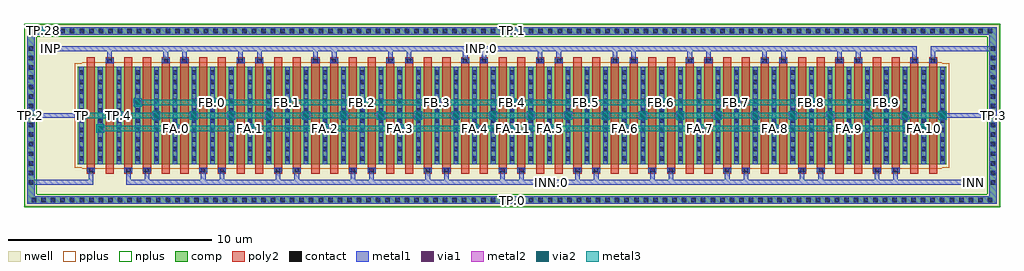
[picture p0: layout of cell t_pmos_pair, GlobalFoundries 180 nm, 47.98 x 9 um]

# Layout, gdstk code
import gdstk
lib = gdstk.Library(unit=1e-6, precision=1e-09)
def R(c, l, rs):  # rectangles x0, y0, x1, y1
    for r in rs: c.add(gdstk.rectangle(r[:2], r[2:], *l))
def A(c, l, x, y, w, h, nx, ny, dx, dy):  # array of equal rectangles
    R(c, l, [(x+i*dx, y+j*dy, x+i*dx+w, y+j*dy+h) for i in range(nx) for j in range(ny)])
nwell = (21, 0)
comp = (22, 0)
poly2 = (30, 0)
pplus = (31, 0)
nplus = (32, 0)
contact = (33, 0)
metal1 = (34, 0)
via1 = (35, 0)
metal2 = (36, 0)
via2 = (38, 0)
metal3 = (42, 0)

t_pmos_pair = lib.new_cell('t_pmos_pair')
R(t_pmos_pair, nwell, [(0,0,47.9,8.92)])
R(t_pmos_pair, comp, [(0.12,0.12,47.78,0.48), (0.12,0.48,0.48,8.44), (47.42,0.48,47.78,8.44), (2.61,2.06,45.29,6.86), (0.12,8.44,47.78,8.8)])
A(t_pmos_pair, poly2, 3.05, 1.6, 0.4, 5.72, 46, 1, 0.92, 0)
R(t_pmos_pair, pplus, [(2.82,1.83,45.08,1.9), (2.45,1.9,45.45,7.02), (2.82,7.02,45.08,7.09)])
R(t_pmos_pair, nplus, [(-0.04,-0.04,47.94,0.59), (-0.04,0.59,0.59,8.33), (47.31,0.59,47.94,8.33), (-0.04,8.33,47.94,8.96)])
A(t_pmos_pair, contact, 0.34, 0.19, 0.22, 0.22, 101, 2, 0.47, 8.32)
A(t_pmos_pair, contact, 0.19, 1.06, 0.22, 0.22, 1, 15, 0, 0.47)
A(t_pmos_pair, contact, 47.49, 1.06, 0.22, 0.22, 1, 15, 0, 0.47)
A(t_pmos_pair, contact, 2.68, 2.235, 0.22, 0.22, 47, 10, 0.92, 0.47)
R(t_pmos_pair, contact, [(3.14,1.67,3.36,1.89), (4.98,1.67,5.2,1.89), (5.9,1.67,6.12,1.89), (8.66,1.67,8.88,1.89), (9.58,1.67,9.8,1.89), (12.34,1.67,12.56,1.89), (13.26,1.67,13.48,1.89), (16.02,1.67,16.24,1.89), (16.94,1.67,17.16,1.89), (19.7,1.67,19.92,1.89), (20.62,1.67,20.84,1.89), (23.38,1.67,23.6,1.89), (24.3,1.67,24.52,1.89), (27.06,1.67,27.28,1.89), (27.98,1.67,28.2,1.89), (30.74,1.67,30.96,1.89), (31.66,1.67,31.88,1.89), (34.42,1.67,34.64,1.89), (35.34,1.67,35.56,1.89), (38.1,1.67,38.32,1.89), (39.02,1.67,39.24,1.89), (41.78,1.67,42,1.89), (42.7,1.67,42.92,1.89), (4.06,7.03,4.28,7.25), (6.82,7.03,7.04,7.25), (7.74,7.03,7.96,7.25), (10.5,7.03,10.72,7.25), (11.42,7.03,11.64,7.25), (14.18,7.03,14.4,7.25), (15.1,7.03,15.32,7.25), (17.86,7.03,18.08,7.25), (18.78,7.03,19,7.25), (21.54,7.03,21.76,7.25), (22.46,7.03,22.68,7.25), (25.22,7.03,25.44,7.25), (26.14,7.03,26.36,7.25), (28.9,7.03,29.12,7.25), (29.82,7.03,30.04,7.25), (32.58,7.03,32.8,7.25), (33.5,7.03,33.72,7.25), (36.26,7.03,36.48,7.25), (37.18,7.03,37.4,7.25), (39.94,7.03,40.16,7.25), (40.86,7.03,41.08,7.25), (43.62,7.03,43.84,7.25), (44.54,7.03,44.76,7.25)])
A(t_pmos_pair, metal1, 2.675, 2.07, 0.23, 2.19, 24, 2, 1.84, 2.59)
A(t_pmos_pair, metal1, 3.595, 2.07, 0.23, 1.55, 12, 1, 3.68, 0)
A(t_pmos_pair, metal1, 5.435, 2.07, 0.23, 2.83, 11, 1, 3.68, 0)
A(t_pmos_pair, metal1, 3.51, 3.62, 0.4, 0.4, 12, 1, 3.68, 0)
A(t_pmos_pair, metal1, 3.595, 4.02, 0.23, 2.83, 12, 1, 3.68, 0)
A(t_pmos_pair, metal1, 4.43, 4.26, 0.4, 0.4, 22, 1, 1.84, 0)
A(t_pmos_pair, metal1, 5.35, 4.9, 0.4, 0.4, 11, 1, 3.68, 0)
A(t_pmos_pair, metal1, 5.435, 5.3, 0.23, 1.55, 11, 1, 3.68, 0)
R(t_pmos_pair, metal1, [(0.12,0.12,47.78,0.48), (0.12,0.48,0.48,1.065), (47.42,0.48,47.78,4.345), (46.42,0.98,46.82,1.065), (0.12,1.065,3.365,1.295), (4.975,1.065,46.82,1.295), (0.12,1.295,0.48,4.345), (3.135,1.295,3.365,1.665), (4.975,1.295,5.205,1.665), (5.895,1.295,6.125,1.665), (8.655,1.295,8.885,1.665), (9.575,1.295,9.805,1.665), (12.335,1.295,12.565,1.665), (13.255,1.295,13.485,1.665), (16.015,1.295,16.245,1.665), (16.935,1.295,17.165,1.665), (19.695,1.295,19.925,1.665), (20.615,1.295,20.845,1.665), (23.375,1.295,23.605,1.665), (24.295,1.295,24.525,1.665), (27.055,1.295,27.285,1.665), (27.975,1.295,28.205,1.665), (30.735,1.295,30.965,1.665), (31.655,1.295,31.885,1.665), (34.415,1.295,34.645,1.665), (35.335,1.295,35.565,1.665), (38.095,1.295,38.325,1.665), (39.015,1.295,39.245,1.665), (41.775,1.295,42.005,1.665), (42.695,1.295,42.925,1.665), (46.42,1.295,46.82,1.38), (3.06,1.665,3.44,1.895), (4.9,1.665,5.28,1.895), (5.82,1.665,6.2,1.895), (8.58,1.665,8.96,1.895), (9.5,1.665,9.88,1.895), (12.26,1.665,12.64,1.895), (13.18,1.665,13.56,1.895), (15.94,1.665,16.32,1.895), (16.86,1.665,17.24,1.895), (19.62,1.665,20,1.895), (20.54,1.665,20.92,1.895), (23.3,1.665,23.68,1.895), (24.22,1.665,24.6,1.895), (26.98,1.665,27.36,1.895), (27.9,1.665,28.28,1.895), (30.66,1.665,31.04,1.895), (31.58,1.665,31.96,1.895), (34.34,1.665,34.72,1.895), (35.26,1.665,35.64,1.895), (38.02,1.665,38.4,1.895), (38.94,1.665,39.32,1.895), (41.7,1.665,42.08,1.895), (42.62,1.665,43,1.895), (2.59,4.26,2.99,4.345), (44.91,4.26,45.31,4.345), (0.12,4.345,2.99,4.575), (44.91,4.345,47.78,4.575), (0.12,4.575,0.48,8.44), (2.59,4.575,2.99,4.66), (44.91,4.575,45.31,4.66), (47.42,4.575,47.78,7.625), (3.98,7.025,4.36,7.255), (6.74,7.025,7.12,7.255), (7.66,7.025,8.04,7.255), (10.42,7.025,10.8,7.255), (11.34,7.025,11.72,7.255), (14.1,7.025,14.48,7.255), (15.02,7.025,15.4,7.255), (17.78,7.025,18.16,7.255), (18.7,7.025,19.08,7.255), (21.46,7.025,21.84,7.255), (22.38,7.025,22.76,7.255), (25.14,7.025,25.52,7.255), (26.06,7.025,26.44,7.255), (28.82,7.025,29.2,7.255), (29.74,7.025,30.12,7.255), (32.5,7.025,32.88,7.255), (33.42,7.025,33.8,7.255), (36.18,7.025,36.56,7.255), (37.1,7.025,37.48,7.255), (39.86,7.025,40.24,7.255), (40.78,7.025,41.16,7.255), (43.54,7.025,43.92,7.255), (44.46,7.025,44.84,7.255), (4.055,7.255,4.285,7.625), (6.815,7.255,7.045,7.625), (7.735,7.255,7.965,7.625), (10.495,7.255,10.725,7.625), (11.415,7.255,11.645,7.625), (14.175,7.255,14.405,7.625), (15.095,7.255,15.325,7.625), (17.855,7.255,18.085,7.625), (18.775,7.255,19.005,7.625), (21.535,7.255,21.765,7.625), (22.455,7.255,22.685,7.625), (25.215,7.255,25.445,7.625), (26.135,7.255,26.365,7.625), (28.895,7.255,29.125,7.625), (29.815,7.255,30.045,7.625), (32.575,7.255,32.805,7.625), (33.495,7.255,33.725,7.625), (36.255,7.255,36.485,7.625), (37.175,7.255,37.405,7.625), (39.935,7.255,40.165,7.625), (40.855,7.255,41.085,7.625), (43.615,7.255,43.845,7.625), (44.535,7.255,44.765,7.625), (1.08,7.54,1.48,7.625), (1.08,7.625,43.845,7.855), (44.535,7.625,47.78,7.855), (1.08,7.855,1.48,7.94), (47.42,7.855,47.78,8.44), (0.72,8.42,1.12,8.44), (0.12,8.44,47.78,8.8), (0.72,8.8,1.12,8.82)])
A(t_pmos_pair, via1, 3.58, 3.69, 0.26, 0.26, 12, 1, 3.68, 0)
A(t_pmos_pair, via1, 2.66, 4.33, 0.26, 0.26, 24, 1, 1.84, 0)
A(t_pmos_pair, via1, 5.42, 4.97, 0.26, 0.26, 11, 1, 3.68, 0)
R(t_pmos_pair, via1, [(46.49,1.05,46.75,1.31), (1.15,7.61,1.41,7.87), (0.79,8.49,1.05,8.75)])
A(t_pmos_pair, metal2, 3.51, 3.62, 0.4, 0.4, 12, 1, 3.68, 0)
A(t_pmos_pair, metal2, 2.59, 4.26, 0.4, 0.4, 24, 1, 1.84, 0)
A(t_pmos_pair, metal2, 5.35, 4.9, 0.4, 0.4, 11, 1, 3.68, 0)
R(t_pmos_pair, metal2, [(46.42,0.98,46.82,1.38), (1.08,7.54,1.48,7.94), (0.72,8.42,1.12,8.82)])
A(t_pmos_pair, via2, 3.58, 3.69, 0.26, 0.26, 12, 1, 3.68, 0)
A(t_pmos_pair, via2, 2.66, 4.33, 0.26, 0.26, 24, 1, 1.84, 0)
A(t_pmos_pair, via2, 5.42, 4.97, 0.26, 0.26, 11, 1, 3.68, 0)
R(t_pmos_pair, via2, [(46.49,1.05,46.75,1.31), (1.15,7.61,1.41,7.87), (0.79,8.49,1.05,8.75)])
A(t_pmos_pair, metal3, 3.51, 3.62, 0.4, 0.06, 12, 2, 3.68, 0.34)
A(t_pmos_pair, metal3, 2.59, 4.26, 0.4, 0.06, 24, 2, 1.84, 0.34)
A(t_pmos_pair, metal3, 5.35, 4.9, 0.4, 0.06, 11, 2, 3.68, 0.34)
R(t_pmos_pair, metal3, [(46.42,0.98,46.82,1.38), (3.51,3.68,44.39,3.96), (2.59,4.32,45.31,4.6), (5.35,4.96,42.55,5.24), (1.08,7.54,1.48,7.94), (0.72,8.42,1.12,8.82)])
t_pmos_pair.add(gdstk.Label('TP.0', (23.95,0.3), layer=34, texttype=0))
t_pmos_pair.add(gdstk.Label('TP.1', (23.95,8.62), layer=34, texttype=0))
t_pmos_pair.add(gdstk.Label('TP.2', (0.3,4.46), layer=34, texttype=0))
t_pmos_pair.add(gdstk.Label('TP.3', (47.6,4.46), layer=34, texttype=0))
t_pmos_pair.add(gdstk.Label('INP.0', (22.46,7.74), layer=34, texttype=0))
t_pmos_pair.add(gdstk.Label('INN.0', (25.9,1.18), layer=34, texttype=0))
t_pmos_pair.add(gdstk.Label('FA.0', (7.39,3.82), layer=34, texttype=0))
t_pmos_pair.add(gdstk.Label('FA.1', (11.07,3.82), layer=34, texttype=0))
t_pmos_pair.add(gdstk.Label('FA.2', (14.75,3.82), layer=34, texttype=0))
t_pmos_pair.add(gdstk.Label('FA.3', (18.43,3.82), layer=34, texttype=0))
t_pmos_pair.add(gdstk.Label('FA.4', (22.11,3.82), layer=34, texttype=0))
t_pmos_pair.add(gdstk.Label('FA.5', (25.79,3.82), layer=34, texttype=0))
t_pmos_pair.add(gdstk.Label('FA.6', (29.47,3.82), layer=34, texttype=0))
t_pmos_pair.add(gdstk.Label('FA.7', (33.15,3.82), layer=34, texttype=0))
t_pmos_pair.add(gdstk.Label('FA.8', (36.83,3.82), layer=34, texttype=0))
t_pmos_pair.add(gdstk.Label('FA.9', (40.51,3.82), layer=34, texttype=0))
t_pmos_pair.add(gdstk.Label('FA.10', (44.19,3.82), layer=34, texttype=0))
t_pmos_pair.add(gdstk.Label('FA.11', (23.95,3.82), layer=42, texttype=0))
t_pmos_pair.add(gdstk.Label('TP.4', (4.63,4.46), layer=34, texttype=0))
t_pmos_pair.add(gdstk.Label('TP.5', (6.47,4.46), layer=34, texttype=0))
t_pmos_pair.add(gdstk.Label('TP.6', (8.31,4.46), layer=34, texttype=0))
t_pmos_pair.add(gdstk.Label('TP.7', (10.15,4.46), layer=34, texttype=0))
t_pmos_pair.add(gdstk.Label('TP.8', (11.99,4.46), layer=34, texttype=0))
t_pmos_pair.add(gdstk.Label('TP.9', (13.83,4.46), layer=34, texttype=0))
t_pmos_pair.add(gdstk.Label('TP.10', (15.67,4.46), layer=34, texttype=0))
t_pmos_pair.add(gdstk.Label('TP.11', (17.51,4.46), layer=34, texttype=0))
t_pmos_pair.add(gdstk.Label('TP.12', (19.35,4.46), layer=34, texttype=0))
t_pmos_pair.add(gdstk.Label('TP.13', (21.19,4.46), layer=34, texttype=0))
t_pmos_pair.add(gdstk.Label('TP.14', (23.03,4.46), layer=34, texttype=0))
t_pmos_pair.add(gdstk.Label('TP.15', (24.87,4.46), layer=34, texttype=0))
t_pmos_pair.add(gdstk.Label('TP.16', (26.71,4.46), layer=34, texttype=0))
t_pmos_pair.add(gdstk.Label('TP.17', (28.55,4.46), layer=34, texttype=0))
t_pmos_pair.add(gdstk.Label('TP.18', (30.39,4.46), layer=34, texttype=0))
t_pmos_pair.add(gdstk.Label('TP.19', (32.23,4.46), layer=34, texttype=0))
t_pmos_pair.add(gdstk.Label('TP.20', (34.07,4.46), layer=34, texttype=0))
t_pmos_pair.add(gdstk.Label('TP.21', (35.91,4.46), layer=34, texttype=0))
t_pmos_pair.add(gdstk.Label('TP.22', (37.75,4.46), layer=34, texttype=0))
t_pmos_pair.add(gdstk.Label('TP.23', (39.59,4.46), layer=34, texttype=0))
t_pmos_pair.add(gdstk.Label('TP.24', (41.43,4.46), layer=34, texttype=0))
t_pmos_pair.add(gdstk.Label('TP.25', (43.27,4.46), layer=34, texttype=0))
t_pmos_pair.add(gdstk.Label('TP.26', (45.11,4.46), layer=34, texttype=0))
t_pmos_pair.add(gdstk.Label('TP.27', (23.95,4.46), layer=42, texttype=0))
t_pmos_pair.add(gdstk.Label('FB.0', (9.23,5.1), layer=34, texttype=0))
t_pmos_pair.add(gdstk.Label('FB.1', (12.91,5.1), layer=34, texttype=0))
t_pmos_pair.add(gdstk.Label('FB.2', (16.59,5.1), layer=34, texttype=0))
t_pmos_pair.add(gdstk.Label('FB.3', (20.27,5.1), layer=34, texttype=0))
t_pmos_pair.add(gdstk.Label('FB.4', (23.95,5.1), layer=34, texttype=0))
t_pmos_pair.add(gdstk.Label('FB.5', (27.63,5.1), layer=34, texttype=0))
t_pmos_pair.add(gdstk.Label('FB.6', (31.31,5.1), layer=34, texttype=0))
t_pmos_pair.add(gdstk.Label('FB.7', (34.99,5.1), layer=34, texttype=0))
t_pmos_pair.add(gdstk.Label('FB.8', (38.67,5.1), layer=34, texttype=0))
t_pmos_pair.add(gdstk.Label('FB.9', (42.35,5.1), layer=34, texttype=0))
t_pmos_pair.add(gdstk.Label('FB.10', (23.95,5.1), layer=42, texttype=0))
t_pmos_pair.add(gdstk.Label('TP.28', (0.92,8.62), layer=34, texttype=0))
t_pmos_pair.add(gdstk.Label('INP', (1.28,7.74), layer=36, texttype=10))
t_pmos_pair.add(gdstk.Label('INN', (46.62,1.18), layer=36, texttype=10))
t_pmos_pair.add(gdstk.Label('FA', (3.71,3.82), layer=36, texttype=10))
t_pmos_pair.add(gdstk.Label('TP', (2.79,4.46), layer=36, texttype=10))
t_pmos_pair.add(gdstk.Label('FB', (5.55,5.1), layer=36, texttype=10))

lib.write_gds('t_pmos_pair.gds')
